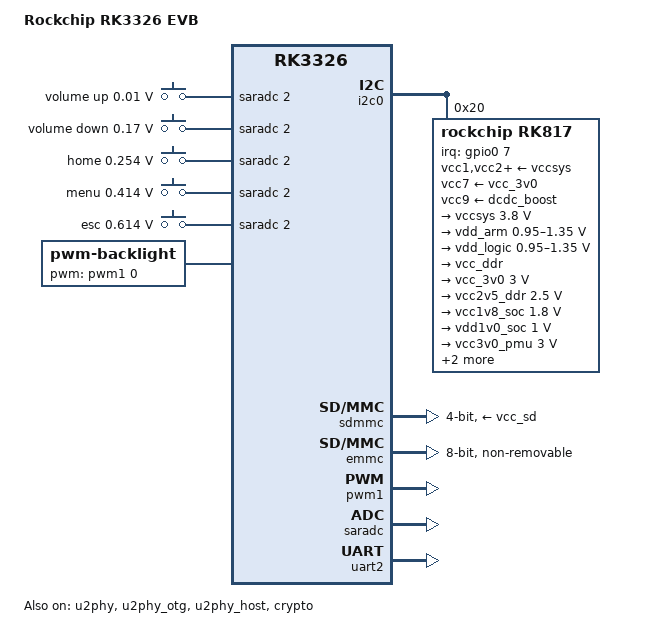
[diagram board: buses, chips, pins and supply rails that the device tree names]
/*
 * (C) Copyright 2017 Rockchip Electronics Co., Ltd
 *
 * SPDX-License-Identifier:     GPL-2.0+
 */

/dts-v1/;
#include "px30.dtsi"
#include "px30-u-boot.dtsi"
#include <dt-bindings/input/input.h>

/ {
	model = "Rockchip RK3326 EVB";
	compatible = "rockchip,rk3326-evb", "rockchip,rk3326";

	adc-keys {
		u-boot,dm-pre-reloc;
		compatible = "adc-keys";
		io-channels = <&saradc 2>;
		io-channel-names = "buttons";
		keyup-threshold-microvolt = <1800000>;

		vol-up-key {
			u-boot,dm-pre-reloc;
			linux,code = <KEY_VOLUMEUP>;
			label = "volume up";
			press-threshold-microvolt = <10000>;
		};

		vol-down-key {
			linux,code = <KEY_VOLUMEDOWN>;
			label = "volume down";
			press-threshold-microvolt = <170000>;
		};

		home-key {
			linux,code = <KEY_HOME>;
			label = "home";
			press-threshold-microvolt = <254000>;
		};

		menu-key {
			linux,code = <KEY_MENU>;
			label = "menu";
			press-threshold-microvolt = <414000>;
		};

		esc-key {
			linux,code = <KEY_ESC>;
			label = "esc";
			press-threshold-microvolt = <614000>;
		};
	};

	backlight: backlight {
		compatible = "pwm-backlight";
		pwms = <&pwm1 0 25000 0>;
		brightness-levels = <
			  0   1   2   3   4   5   6   7
			  8   9  10  11  12  13  14  15
			 16  17  18  19  20  21  22  23
			 24  25  26  27  28  29  30  31
			 32  33  34  35  36  37  38  39
			 40  41  42  43  44  45  46  47
			 48  49  50  51  52  53  54  55
			 56  57  58  59  60  61  62  63
			 64  65  66  67  68  69  70  71
			 72  73  74  75  76  77  78  79
			 80  81  82  83  84  85  86  87
			 88  89  90  91  92  93  94  95
			 96  97  98  99 100 101 102 103
			104 105 106 107 108 109 110 111
			112 113 114 115 116 117 118 119
			120 121 122 123 124 125 126 127
			128 129 130 131 132 133 134 135
			136 137 138 139 140 141 142 143
			144 145 146 147 148 149 150 151
			152 153 154 155 156 157 158 159
			160 161 162 163 164 165 166 167
			168 169 170 171 172 173 174 175
			176 177 178 179 180 181 182 183
			184 185 186 187 188 189 190 191
			192 193 194 195 196 197 198 199
			200 201 202 203 204 205 206 207
			208 209 210 211 212 213 214 215
			216 217 218 219 220 221 222 223
			224 225 226 227 228 229 230 231
			232 233 234 235 236 237 238 239
			240 241 242 243 244 245 246 247
			248 249 250 251 252 253 254 255>;
		default-brightness-level = <200>;
	};
};


&i2c0 {
	status = "okay";

	rk817: pmic@20 {
		compatible = "rockchip,rk817";
		reg = <0x20>;
		interrupt-parent = <&gpio0>;
		interrupts = <7 IRQ_TYPE_LEVEL_LOW>;
		pinctrl-names = "default";
		pinctrl-0 = <&pmic_int>;
		rockchip,system-power-controller;
		wakeup-source;
		#clock-cells = <1>;
		clock-output-names = "xin32k", "rk808-clkout2";

		vcc1-supply = <&vccsys>;
		vcc2-supply = <&vccsys>;
		vcc3-supply = <&vccsys>;
		vcc4-supply = <&vccsys>;
		vcc5-supply = <&vccsys>;
		vcc6-supply = <&vccsys>;
		vcc7-supply = <&vcc_3v0>;
		vcc8-supply = <&vccsys>;
		vcc9-supply = <&dcdc_boost>;

		vccsys: vccsys{
			compatible = "regulator-fixed";
			regulator-name = "vcc3v8_sys";
			regulator-always-on;
			regulator-boot-on;
			regulator-min-microvolt = <3800000>;
			regulator-max-microvolt = <3800000>;
		};

		rk817_pin0_ts: rk817_pin0_ts {
			pins = "gpio0";
			function = "pin_fun0";
		};

		rk817_pin0_gpio: rk817_pin0_gpio {
			pins = "gpio0";
			function = "gpio";
		};

		rk817_pin1_gt: rk817_pin1_gt {
			pins = "gpio1";
			function = "pin_fun0";
		};

		rk817_pin1_gpio: rk817_pin1_gpio {
			pins = "gpio1";
			function = "gpio";
		};

		pwrkey {
			status = "okay";
		};

		regulators {
			vdd_arm: DCDC_REG1 {
				regulator-always-on;
				regulator-boot-on;
				regulator-min-microvolt = <950000>;
				regulator-max-microvolt = <1350000>;
				regulator-ramp-delay = <6001>;
				regulator-initial-mode = <0x1>;
				regulator-name = "vdd_arm";
				regulator-state-mem {
					regulator-on-in-suspend;
					regulator-suspend-microvolt = <700000>;
				};
			};

			vdd_logic: DCDC_REG2 {
				regulator-always-on;
				regulator-boot-on;
				regulator-min-microvolt = <950000>;
				regulator-max-microvolt = <1350000>;
				regulator-ramp-delay = <6001>;
				regulator-initial-mode = <0x1>;
				regulator-name = "vdd_logic";
				regulator-state-mem {
					regulator-off-in-suspend;
					regulator-suspend-microvolt = <800000>;
				};
			};

			vcc_ddr: DCDC_REG3 {
				regulator-always-on;
				regulator-boot-on;
				regulator-initial-mode = <0x1>;
				regulator-name = "vcc_ddr";
					regulator-state-mem {
					regulator-on-in-suspend;
				};
			};

			vcc_3v0: DCDC_REG4 {
				regulator-always-on;
				regulator-boot-on;
				regulator-min-microvolt = <3000000>;
				regulator-max-microvolt = <3000000>;
				regulator-initial-mode = <0x1>;
				regulator-name = "vcc_3v0";
				regulator-state-mem {
					regulator-off-in-suspend;
					regulator-suspend-microvolt = <3000000>;
				};
			};

			vcc2v5_ddr: LDO_REG1 {
				regulator-always-on;
				regulator-boot-on;
				regulator-min-microvolt = <2500000>;
				regulator-max-microvolt = <2500000>;
				regulator-name = "vcc2v5_ddr";
				regulator-state-mem {
					regulator-on-in-suspend;
					regulator-suspend-microvolt = <2500000>;
				};
			};

			vcc1v8_soc: LDO_REG2 {
				regulator-always-on;
				regulator-boot-on;
				regulator-min-microvolt = <1800000>;
				regulator-max-microvolt = <1800000>;

				regulator-name = "vcc1v8_soc";
				regulator-state-mem {
					regulator-on-in-suspend;
					regulator-suspend-microvolt = <1800000>;
				};
			};

			vdd1v0_soc: LDO_REG3 {
				regulator-always-on;
				regulator-boot-on;
				regulator-min-microvolt = <1000000>;
				regulator-max-microvolt = <1000000>;

				regulator-name = "vcc1v0_soc";
				regulator-state-mem {
					regulator-off-in-suspend;
					regulator-suspend-microvolt = <1000000>;
				};
			};

			vcc3v0_pmu: LDO_REG4 {
				regulator-always-on;
				regulator-boot-on;
				regulator-min-microvolt = <3000000>;
				regulator-max-microvolt = <3000000>;

				regulator-name = "vcc3v0_pmu";
				regulator-state-mem {
					regulator-off-in-suspend;
					regulator-suspend-microvolt = <3000000>;
				};
			};

			vccio_sd: LDO_REG5 {
				regulator-always-on;
				regulator-boot-on;
				regulator-min-microvolt = <1800000>;
				regulator-max-microvolt = <3300000>;

				regulator-name = "vccio_sd";
				regulator-state-mem {
					regulator-on-in-suspend;
					regulator-suspend-microvolt = <3300000>;
				};
			};

			vcc_sd: LDO_REG6 {
				regulator-always-on;
				regulator-boot-on;
				regulator-min-microvolt = <3300000>;
				regulator-max-microvolt = <3300000>;

				regulator-name = "vcc_sd";
				regulator-state-mem {
					regulator-on-in-suspend;
					regulator-suspend-microvolt = <3300000>;
				};
			};

			vcc2v8_dvp: LDO_REG7 {
			regulator-always-on;
				regulator-boot-on;
				regulator-min-microvolt = <2800000>;
				regulator-max-microvolt = <2800000>;

				regulator-name = "vcc2v8_dvp";
				regulator-state-mem {
					regulator-off-in-suspend;
					regulator-suspend-microvolt = <2800000>;
				};
			};

			vcc1v8_dvp: LDO_REG8 {
				regulator-always-on;
				regulator-boot-on;
				regulator-min-microvolt = <1800000>;
				regulator-max-microvolt = <1800000>;

				regulator-name = "vcc1v8_dvp";
				regulator-state-mem {
					regulator-on-in-suspend;
					regulator-suspend-microvolt = <1800000>;
				};
			};

			vdd1v5_dvp: LDO_REG9 {
				regulator-always-on;
				regulator-boot-on;
				regulator-min-microvolt = <1500000>;
				regulator-max-microvolt = <1500000>;

				regulator-name = "vdd1v5_dvp";
				regulator-state-mem {
					regulator-off-in-suspend;
					regulator-suspend-microvolt = <1500000>;
				};
			};

			dcdc_boost: BOOST {
				regulator-always-on;
				regulator-boot-on;
				regulator-min-microvolt = <4700000>;
				regulator-max-microvolt = <5400000>;
				regulator-name = "boost";
			};

			otg_switch: OTG_SWITCH {
				regulator-always-on;
				regulator-boot-on;
				regulator-name = "otg_switch";
			};
		};

		battery {
			compatible = "rk817,battery";
			ocv_table = <3500 3625 3685 3697 3718 3735 3748
						3760 3774 3788 3802 3816 3834 3853
						3877 3908 3946 3975 4018 4071 4106>;
			design_capacity = <2500>;
			design_qmax = <2750>;
			bat_res = <100>;
			sleep_enter_current = <300>;
			sleep_exit_current = <300>;
			sleep_filter_current = <100>;
			power_off_thresd = <3500>;
			zero_algorithm_vol = <3850>;
			max_soc_offset = <60>;
			monitor_sec = <5>;
			sample_res = <10>;
			virtual_power = <1>;
		};

		charger {
			compatible = "rk817,charger";
			min_input_voltage = <4500>;
			max_input_current = <1500>;
			max_chrg_current = <1300>;
			max_chrg_voltage = <4200>;
			chrg_term_mode = <1>;
			chrg_finish_cur = <300>;
			virtual_power = <0>;
			dc_det_adc = <0>;
		};
	};
};

&sdmmc {
	bus-width = <4>;
	cap-mmc-highspeed;
	cap-sd-highspeed;
	supports-sd;
	card-detect-delay = <800>;
	ignore-pm-notify;
	/*cd-gpios = <&gpio2 4 GPIO_ACTIVE_HIGH>; [> CD GPIO <]*/
	sd-uhs-sdr12;
	sd-uhs-sdr25;
	sd-uhs-sdr50;
	sd-uhs-sdr104;
	vqmmc-supply = <&vccio_sd>;
	vmmc-supply = <&vcc_sd>;
	status = "okay";
};

&emmc {
	u-boot,dm-pre-reloc;
	fifo-mode;
	bus-width = <8>;
	cap-mmc-highspeed;
	mmc-hs200-1_8v;
	supports-emmc;
	disable-wp;
	non-removable;
	num-slots = <1>;
	pinctrl-names = "default";
	pinctrl-0 = <&emmc_clk &emmc_cmd &emmc_bus8>;
	status = "okay";
};

&pwm1 {
	status = "okay";
};

&saradc {
	status = "okay";
};

&pinctrl {
	pmic {
	pmic_int: pmic_int {
		rockchip,pins =
			<0 7 RK_FUNC_GPIO &pcfg_pull_up>;
		};
	};
};

&u2phy {
	status = "okay";
};

&u2phy_otg {
	status = "okay";
};

&u2phy_host {
	status = "okay";
};

&uart2 {
	status = "okay";
};

&crypto {
	status = "okay";
};
